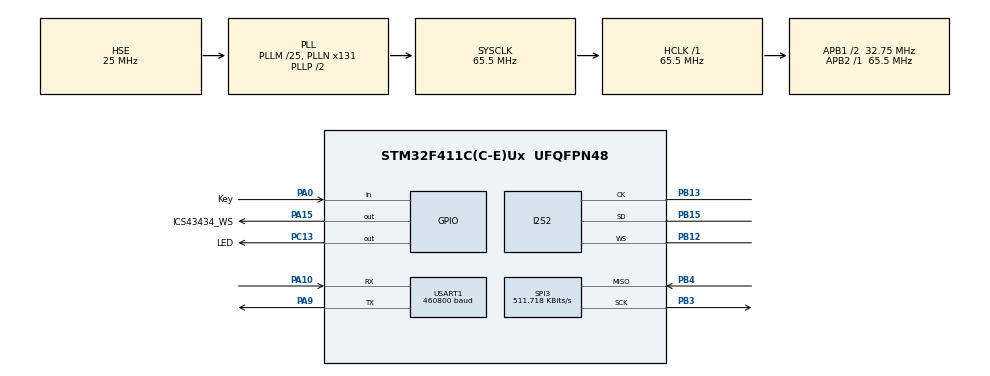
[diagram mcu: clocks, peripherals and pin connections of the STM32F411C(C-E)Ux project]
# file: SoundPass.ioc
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Dma.Request0=USART1_TX
Dma.Request1=USART1_RX
Dma.USART1_RX.1.Direction=DMA_PERIPH_TO_MEMORY
Dma.USART1_RX.1.FIFOMode=DMA_FIFOMODE_DISABLE
Dma.USART1_RX.1.Instance=DMA2_Stream2
Dma.USART1_RX.1.MemDataAlignment=DMA_MDATAALIGN_BYTE
Dma.USART1_RX.1.MemInc=DMA_MINC_ENABLE
Dma.USART1_RX.1.Mode=DMA_NORMAL
Dma.USART1_RX.1.PeriphDataAlignment=DMA_PDATAALIGN_BYTE
Dma.USART1_RX.1.PeriphInc=DMA_PINC_DISABLE
Dma.USART1_RX.1.Priority=DMA_PRIORITY_LOW
Dma.USART1_TX.0.Direction=DMA_MEMORY_TO_PERIPH
Dma.USART1_TX.0.FIFOMode=DMA_FIFOMODE_DISABLE
Dma.USART1_TX.0.Instance=DMA2_Stream7
Dma.USART1_TX.0.MemDataAlignment=DMA_MDATAALIGN_BYTE
Dma.USART1_TX.0.MemInc=DMA_MINC_ENABLE
Dma.USART1_TX.0.Mode=DMA_NORMAL
Dma.USART1_TX.0.PeriphDataAlignment=DMA_PDATAALIGN_BYTE
Dma.USART1_TX.0.PeriphInc=DMA_PINC_DISABLE
Dma.USART1_TX.0.Priority=DMA_PRIORITY_LOW
I2S2.DataFormat=I2S_DATAFORMAT_24B
I2S2.ErrorAudioFreq=0.0 %
I2S2.FullDuplexMode=I2S_FULLDUPLEXMODE_DISABLE
I2S2.Instance=SPI$Index
I2S2.RealAudioFreq=8.0 KHz
I2S2.VirtualMode=I2S_MODE_MASTER
Mcu.Family=STM32F4
Mcu.Name=STM32F411C(C-E)Ux
Mcu.Package=UFQFPN48
NVIC.DMA2_Stream2_IRQn=true\:0\:0\:false\:false\:true\:false\:true\:true
NVIC.DMA2_Stream7_IRQn=true\:0\:0\:false\:false\:true\:false\:true\:true
NVIC.PriorityGroup=NVIC_PRIORITYGROUP_4
PA0-WKUP.GPIO_Label=Key
PA0-WKUP.GPIO_PuPd=GPIO_PULLUP
PA0-WKUP.Signal=GPIO_Input
PA10.Mode=Asynchronous
PA10.Signal=USART1_RX
PA13.Mode=Serial_Wire
PA13.Signal=SYS_JTMS-SWDIO
PA14.Mode=Serial_Wire
PA14.Signal=SYS_JTCK-SWCLK
PA15.GPIO_Label=ICS43434_WS
PA15.GPIO_Speed=GPIO_SPEED_FREQ_VERY_HIGH
PA15.Signal=GPIO_Output
PA9.Mode=Asynchronous
PA9.Signal=USART1_TX
PB12.Mode=Half_Duplex_Master
PB12.Signal=I2S2_WS
PB13.Mode=Half_Duplex_Master
PB13.Signal=I2S2_CK
PB15.Mode=Half_Duplex_Master
PB15.Signal=I2S2_SD
PB3.Mode=RX_Only_Simplex_Unidirect_Master
PB3.Signal=SPI3_SCK
PB4.GPIO_PuPd=GPIO_NOPULL
PB4.Mode=RX_Only_Simplex_Unidirect_Master
PB4.Signal=SPI3_MISO
PC13-ANTI_TAMP.GPIO_Label=LED
PC13-ANTI_TAMP.PinState=GPIO_PIN_SET
PC13-ANTI_TAMP.Signal=GPIO_Output
PH0\ -\ OSC_IN.Mode=HSE-External-Oscillator
PH0\ -\ OSC_IN.Signal=RCC_OSC_IN
PH1\ -\ OSC_OUT.Mode=HSE-External-Oscillator
PH1\ -\ OSC_OUT.Signal=RCC_OSC_OUT
ProjectManager.HeapSize=0x200
ProjectManager.StackSize=0x400
ProjectManager.TargetToolchain=Makefile
RCC.48MHZClocksFreq_Value=32750000
RCC.AHBFreq_Value=65500000
RCC.APB1CLKDivider=RCC_HCLK_DIV2
RCC.APB1Freq_Value=32750000
RCC.APB1TimFreq_Value=65500000
RCC.APB2Freq_Value=65500000
RCC.APB2TimFreq_Value=65500000
RCC.CortexFreq_Value=65500000
RCC.EXTERNAL_CLOCK_VALUE=10000000
RCC.HCLKFreq_Value=65500000
RCC.HSE_VALUE=25000000
RCC.HSI_VALUE=16000000
RCC.LSE_VALUE=32768
RCC.PLLI2SN=97
RCC.PLLM=25
RCC.PLLN=131
RCC.PLLSourceVirtual=RCC_PLLSOURCE_HSE
RCC.SYSCLKFreq_VALUE=65500000
RCC.SYSCLKSource=RCC_SYSCLKSOURCE_PLLCLK
RCC.VCOOutputFreq_Value=131000000
SPI3.BaudRatePrescaler=SPI_BAUDRATEPRESCALER_64
SPI3.CalculateBaudRate=511.718 KBits/s
SPI3.Direction=SPI_DIRECTION_2LINES_RXONLY
SPI3.Mode=SPI_MODE_MASTER
SPI3.VirtualType=VM_MASTER
USART1.BaudRate=460800
USART1.VirtualMode=VM_ASYNC
board=custom

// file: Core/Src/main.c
/* USER CODE BEGIN Header */
/**
 ******************************************************************************
 * @file           : main.c
 * @brief          : Main program body
 ******************************************************************************
 * @attention
 *
 * Copyright (c) 2025 STMicroelectronics.
 * All rights reserved.
 *
 * This software is licensed under terms that can be found in the LICENSE file
 * in the root directory of this software component.
 * If no LICENSE file comes with this software, it is provided AS-IS.
 *
 ******************************************************************************
 */
/* USER CODE END Header */
#include "main.h"
#include "dma.h"
#include "i2s.h"
#include "spi.h"
#include "usart.h"
#include "gpio.h"

/* USER CODE BEGIN Includes */
#include "i2smic_spi.h"

/* USER CODE END Includes */

/* USER CODE BEGIN PTD */
extern DMA_HandleTypeDef hdma_usart1_rx;

/* USER CODE END PTD */

/* USER CODE BEGIN PD */
#define hmax98357 hi2s2

/* USER CODE END PD */

/* USER CODE BEGIN PV */
uint32_t data[8192] = {0};		  // 收发数据的缓存，16384 * 4 = 64kbyte = 1s
uint32_t dataExpand[16384] = {0}; // 存储立体声展开后的数据
/* USER CODE END PV */

void SystemClock_Config(void);

/* USER CODE BEGIN 0 */
void ExpandMonoToStereo(uint32_t *MonoData, uint32_t *ExpandData, uint16_t Size)
{
	for (int i = 0; i < Size; i++)
	{
		ExpandData[i * 2] = MonoData[i]; // Left channel
		ExpandData[i * 2 + 1] = 0;		 // Right channel
	}
}
void HAL_UARTEx_RxEventCallback(UART_HandleTypeDef *huart, uint16_t Size)
{
	if (huart->Instance == USART1)
	{
		// 处理接收到的数据
		ExpandMonoToStereo(data, dataExpand, 8192);

		HAL_I2S_Transmit(&hmax98357, (uint16_t *)dataExpand, 16384, 2000);
		HAL_UARTEx_ReceiveToIdle_DMA(&huart1, (uint8_t *)data, 32768);
		__HAL_DMA_DISABLE_IT(&hdma_usart1_rx, DMA_IT_HT);
	}
}
/* USER CODE END 0 */

int main(void)
{

	/* MCU Configuration--------------------------------------------------------*/

	/* Reset of all peripherals, Initializes the Flash interface and the Systick. */
	HAL_Init();

	/* Configure the system clock */
	SystemClock_Config();

	/* Initialize all configured peripherals */
	MX_GPIO_Init();
	MX_DMA_Init();
	MX_SPI3_Init();
	MX_USART1_UART_Init();
	MX_I2S2_Init();
	/* USER CODE BEGIN 2 */
	HAL_UARTEx_ReceiveToIdle_DMA(&huart1, (uint8_t *)data, 32768);
	__HAL_DMA_DISABLE_IT(&hdma_usart1_rx, DMA_IT_HT);

	/* USER CODE END 2 */

	/* Infinite loop */
	/* USER CODE BEGIN WHILE */
	while (1)
	{
		if (!HAL_GPIO_ReadPin(Key_GPIO_Port, Key_Pin))
		{
			HAL_GPIO_WritePin(LED_GPIO_Port, LED_Pin, 0);
			// I2SMic_Receive(data, 24576, 2000);
			I2SMic_ReceiveMonoChannel(data, 8192, 2000);

			HAL_GPIO_WritePin(LED_GPIO_Port, LED_Pin, 1);
			HAL_UART_Transmit(&huart1, (uint8_t *)data, 32768, HAL_MAX_DELAY);
			ExpandMonoToStereo(data, dataExpand, 8192);

			HAL_I2S_Transmit(&hmax98357, (uint16_t *)dataExpand, 16384, 2000); // hal库这个size的采样数，是左右声道加起来的采样数
		}
		/* USER CODE END WHILE */

	}
}

void SystemClock_Config(void)
{
	RCC_OscInitTypeDef RCC_OscInitStruct = {0};
	RCC_ClkInitTypeDef RCC_ClkInitStruct = {0};

	/** Configure the main internal regulator output voltage
	 */
	__HAL_RCC_PWR_CLK_ENABLE();
	__HAL_PWR_VOLTAGESCALING_CONFIG(PWR_REGULATOR_VOLTAGE_SCALE1);

	/** Initializes the RCC Oscillators according to the specified parameters
	 * in the RCC_OscInitTypeDef structure.
	 */
	RCC_OscInitStruct.OscillatorType = RCC_OSCILLATORTYPE_HSE;
	RCC_OscInitStruct.HSEState = RCC_HSE_ON;
	RCC_OscInitStruct.PLL.PLLState = RCC_PLL_ON;
	RCC_OscInitStruct.PLL.PLLSource = RCC_PLLSOURCE_HSE;
	RCC_OscInitStruct.PLL.PLLM = 25;
	RCC_OscInitStruct.PLL.PLLN = 131;
	RCC_OscInitStruct.PLL.PLLP = RCC_PLLP_DIV2;
	RCC_OscInitStruct.PLL.PLLQ = 4;
	if (HAL_RCC_OscConfig(&RCC_OscInitStruct) != HAL_OK)
	{
		Error_Handler();
	}

	/** Initializes the CPU, AHB and APB buses clocks
	 */
	RCC_ClkInitStruct.ClockType = RCC_CLOCKTYPE_HCLK | RCC_CLOCKTYPE_SYSCLK | RCC_CLOCKTYPE_PCLK1 | RCC_CLOCKTYPE_PCLK2;
	RCC_ClkInitStruct.SYSCLKSource = RCC_SYSCLKSOURCE_PLLCLK;
	RCC_ClkInitStruct.AHBCLKDivider = RCC_SYSCLK_DIV1;
	RCC_ClkInitStruct.APB1CLKDivider = RCC_HCLK_DIV2;
	RCC_ClkInitStruct.APB2CLKDivider = RCC_HCLK_DIV1;

	if (HAL_RCC_ClockConfig(&RCC_ClkInitStruct, FLASH_LATENCY_2) != HAL_OK)
	{
		Error_Handler();
	}
}

void Error_Handler(void)
{
	__disable_irq();
	while (1)
	{
	}
}
